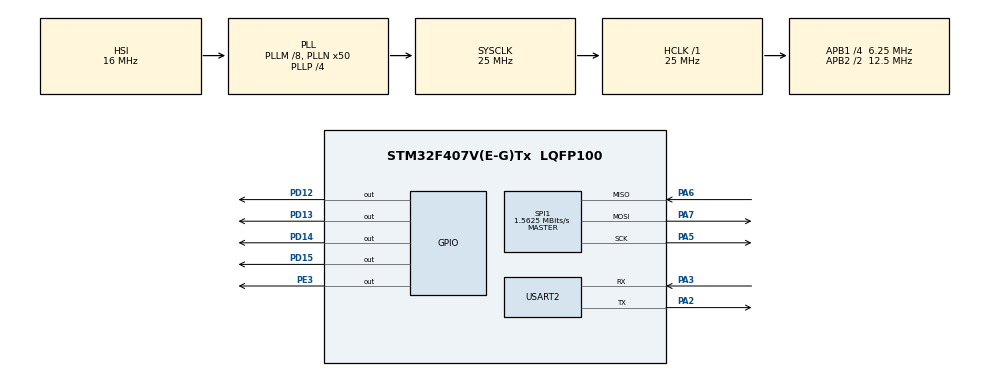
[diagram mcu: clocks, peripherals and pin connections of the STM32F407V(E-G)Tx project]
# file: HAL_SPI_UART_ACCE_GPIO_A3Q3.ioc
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Mcu.Family=STM32F4
Mcu.Name=STM32F407V(E-G)Tx
Mcu.Package=LQFP100
NVIC.PriorityGroup=NVIC_PRIORITYGROUP_0
PA2.Mode=Asynchronous
PA2.Signal=USART2_TX
PA3.Mode=Asynchronous
PA3.Signal=USART2_RX
PA5.Mode=Full_Duplex_Master
PA5.Signal=SPI1_SCK
PA6.Mode=Full_Duplex_Master
PA6.Signal=SPI1_MISO
PA7.Mode=Full_Duplex_Master
PA7.Signal=SPI1_MOSI
PD12.Signal=GPIO_Output
PD13.Signal=GPIO_Output
PD14.Signal=GPIO_Output
PD15.Signal=GPIO_Output
PE3.Signal=GPIO_Output
ProjectManager.HeapSize=0x200
ProjectManager.StackSize=0x400
ProjectManager.TargetToolchain=STM32CubeIDE
RCC.48MHZClocksFreq_Value=14285714.285714285
RCC.AHBFreq_Value=25000000
RCC.APB1CLKDivider=RCC_HCLK_DIV4
RCC.APB1Freq_Value=6250000
RCC.APB1TimFreq_Value=12500000
RCC.APB2CLKDivider=RCC_HCLK_DIV2
RCC.APB2Freq_Value=12500000
RCC.APB2TimFreq_Value=25000000
RCC.CortexFreq_Value=25000000
RCC.HCLKFreq_Value=25000000
RCC.HSE_VALUE=8000000
RCC.HSI_VALUE=16000000
RCC.LSE_VALUE=32768
RCC.PLLM=8
RCC.PLLN=50
RCC.PLLP=RCC_PLLP_DIV4
RCC.PLLQ=7
RCC.SYSCLKFreq_VALUE=25000000
RCC.SYSCLKSource=RCC_SYSCLKSOURCE_PLLCLK
RCC.VCOOutputFreq_Value=100000000
SPI1.BaudRatePrescaler=SPI_BAUDRATEPRESCALER_8
SPI1.CalculateBaudRate=1.5625 MBits/s
SPI1.Direction=SPI_DIRECTION_2LINES
SPI1.Mode=SPI_MODE_MASTER
SPI1.VirtualType=VM_MASTER
USART2.VirtualMode=VM_ASYNC
board=STM32F407G-DISC1

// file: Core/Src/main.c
/* USER CODE BEGIN Header */
/**
  ******************************************************************************
  * @file           : main.c
  * @brief          : Main program body
  ******************************************************************************
  * @attention
  *
  * Copyright (c) 2026 STMicroelectronics.
  * All rights reserved.
  *
  * This software is licensed under terms that can be found in the LICENSE file
  * in the root directory of this software component.
  * If no LICENSE file comes with this software, it is provided AS-IS.
  *
  ******************************************************************************
  */
/* USER CODE END Header */
#include "main.h"

/* USER CODE BEGIN Includes */
#include <stdio.h>
#include <string.h>
#include "lis3dsh.h"
/* USER CODE END Includes */

SPI_HandleTypeDef hspi1;

UART_HandleTypeDef huart2;

void SystemClock_Config(void);
static void MX_GPIO_Init(void);
static void MX_SPI1_Init(void);
static void MX_USART2_UART_Init(void);

int main(void)
{

  /* MCU Configuration--------------------------------------------------------*/

  /* Reset of all peripherals, Initializes the Flash interface and the Systick. */
  HAL_Init();

  /* Configure the system clock */
  SystemClock_Config();

  /* Initialize all configured peripherals */
  MX_GPIO_Init();
  MX_SPI1_Init();
  MX_USART2_UART_Init();
  /* USER CODE BEGIN 2 */
  HAL_UART_Transmit(&huart2, (uint8_t*)"LIS3DSH Accel Demo!\r\n", 21, HAL_MAX_DELAY);
    accel_init();
  /* USER CODE END 2 */

  /* Infinite loop */
  /* USER CODE BEGIN WHILE */
  while (1)
  {
	  char str[40];
	  AccelRead_t val = accel_get_xyz();

	  if (val.x > 3000)
	  {
		  HAL_GPIO_WritePin(GPIOD, GPIO_PIN_12, GPIO_PIN_SET);

	  }
	  else
	 	  HAL_GPIO_WritePin(GPIOD, GPIO_PIN_12, GPIO_PIN_RESET);

     if (val.x < -3000)
     {
	  HAL_GPIO_WritePin(GPIOD, GPIO_PIN_14, GPIO_PIN_SET);

     }
     else
	  HAL_GPIO_WritePin(GPIOD, GPIO_PIN_14, GPIO_PIN_RESET);

     if (val.y > 3000)
     {
	  HAL_GPIO_WritePin(GPIOD, GPIO_PIN_13, GPIO_PIN_SET);

     }
     else
	  HAL_GPIO_WritePin(GPIOD, GPIO_PIN_13, GPIO_PIN_RESET);

     if (val.y < -3000)
     {
	  HAL_GPIO_WritePin(GPIOD, GPIO_PIN_15, GPIO_PIN_SET);

     }
     else
	  HAL_GPIO_WritePin(GPIOD, GPIO_PIN_15, GPIO_PIN_RESET);

	 sprintf(str, "X=%d,Y=%d\r\n", val.x, val.y);
	 HAL_UART_Transmit(&huart2, (uint8_t*)str, strlen(str), HAL_MAX_DELAY);
	 HAL_Delay(1000);

    /* USER CODE END WHILE */

  }
}

void SystemClock_Config(void)
{
  RCC_OscInitTypeDef RCC_OscInitStruct = {0};
  RCC_ClkInitTypeDef RCC_ClkInitStruct = {0};

  /** Configure the main internal regulator output voltage
  */
  __HAL_RCC_PWR_CLK_ENABLE();
  __HAL_PWR_VOLTAGESCALING_CONFIG(PWR_REGULATOR_VOLTAGE_SCALE1);

  /** Initializes the RCC Oscillators according to the specified parameters
  * in the RCC_OscInitTypeDef structure.
  */
  RCC_OscInitStruct.OscillatorType = RCC_OSCILLATORTYPE_HSI;
  RCC_OscInitStruct.HSIState = RCC_HSI_ON;
  RCC_OscInitStruct.HSICalibrationValue = RCC_HSICALIBRATION_DEFAULT;
  RCC_OscInitStruct.PLL.PLLState = RCC_PLL_ON;
  RCC_OscInitStruct.PLL.PLLSource = RCC_PLLSOURCE_HSI;
  RCC_OscInitStruct.PLL.PLLM = 8;
  RCC_OscInitStruct.PLL.PLLN = 50;
  RCC_OscInitStruct.PLL.PLLP = RCC_PLLP_DIV4;
  RCC_OscInitStruct.PLL.PLLQ = 7;
  if (HAL_RCC_OscConfig(&RCC_OscInitStruct) != HAL_OK)
  {
    Error_Handler();
  }

  /** Initializes the CPU, AHB and APB buses clocks
  */
  RCC_ClkInitStruct.ClockType = RCC_CLOCKTYPE_HCLK|RCC_CLOCKTYPE_SYSCLK
                              |RCC_CLOCKTYPE_PCLK1|RCC_CLOCKTYPE_PCLK2;
  RCC_ClkInitStruct.SYSCLKSource = RCC_SYSCLKSOURCE_PLLCLK;
  RCC_ClkInitStruct.AHBCLKDivider = RCC_SYSCLK_DIV1;
  RCC_ClkInitStruct.APB1CLKDivider = RCC_HCLK_DIV4;
  RCC_ClkInitStruct.APB2CLKDivider = RCC_HCLK_DIV2;

  if (HAL_RCC_ClockConfig(&RCC_ClkInitStruct, FLASH_LATENCY_0) != HAL_OK)
  {
    Error_Handler();
  }
}

static void MX_SPI1_Init(void)
{

  /* SPI1 parameter configuration*/
  hspi1.Instance = SPI1;
  hspi1.Init.Mode = SPI_MODE_MASTER;
  hspi1.Init.Direction = SPI_DIRECTION_2LINES;
  hspi1.Init.DataSize = SPI_DATASIZE_8BIT;
  hspi1.Init.CLKPolarity = SPI_POLARITY_LOW;
  hspi1.Init.CLKPhase = SPI_PHASE_1EDGE;
  hspi1.Init.NSS = SPI_NSS_SOFT;
  hspi1.Init.BaudRatePrescaler = SPI_BAUDRATEPRESCALER_8;
  hspi1.Init.FirstBit = SPI_FIRSTBIT_MSB;
  hspi1.Init.TIMode = SPI_TIMODE_DISABLE;
  hspi1.Init.CRCCalculation = SPI_CRCCALCULATION_DISABLE;
  hspi1.Init.CRCPolynomial = 10;
  if (HAL_SPI_Init(&hspi1) != HAL_OK)
  {
    Error_Handler();
  }

}

static void MX_USART2_UART_Init(void)
{

  huart2.Instance = USART2;
  huart2.Init.BaudRate = 115200;
  huart2.Init.WordLength = UART_WORDLENGTH_8B;
  huart2.Init.StopBits = UART_STOPBITS_1;
  huart2.Init.Parity = UART_PARITY_NONE;
  huart2.Init.Mode = UART_MODE_TX_RX;
  huart2.Init.HwFlowCtl = UART_HWCONTROL_NONE;
  huart2.Init.OverSampling = UART_OVERSAMPLING_16;
  if (HAL_UART_Init(&huart2) != HAL_OK)
  {
    Error_Handler();
  }

}

static void MX_GPIO_Init(void)
{
  GPIO_InitTypeDef GPIO_InitStruct = {0};

  /* GPIO Ports Clock Enable */
  __HAL_RCC_GPIOE_CLK_ENABLE();
  __HAL_RCC_GPIOA_CLK_ENABLE();
  __HAL_RCC_GPIOD_CLK_ENABLE();

  /*Configure GPIO pin Output Level */
  HAL_GPIO_WritePin(GPIOE, GPIO_PIN_3, GPIO_PIN_RESET);

  /*Configure GPIO pin Output Level */
  HAL_GPIO_WritePin(GPIOD, GPIO_PIN_12|GPIO_PIN_13|GPIO_PIN_14|GPIO_PIN_15, GPIO_PIN_RESET);

  /*Configure GPIO pin : PE3 */
  GPIO_InitStruct.Pin = GPIO_PIN_3;
  GPIO_InitStruct.Mode = GPIO_MODE_OUTPUT_PP;
  GPIO_InitStruct.Pull = GPIO_NOPULL;
  GPIO_InitStruct.Speed = GPIO_SPEED_FREQ_LOW;
  HAL_GPIO_Init(GPIOE, &GPIO_InitStruct);

  /*Configure GPIO pins : PD12 PD13 PD14 PD15 */
  GPIO_InitStruct.Pin = GPIO_PIN_12|GPIO_PIN_13|GPIO_PIN_14|GPIO_PIN_15;
  GPIO_InitStruct.Mode = GPIO_MODE_OUTPUT_PP;
  GPIO_InitStruct.Pull = GPIO_NOPULL;
  GPIO_InitStruct.Speed = GPIO_SPEED_FREQ_LOW;
  HAL_GPIO_Init(GPIOD, &GPIO_InitStruct);

}

void Error_Handler(void)
{
  __disable_irq();
  while (1)
  {
  }
}
